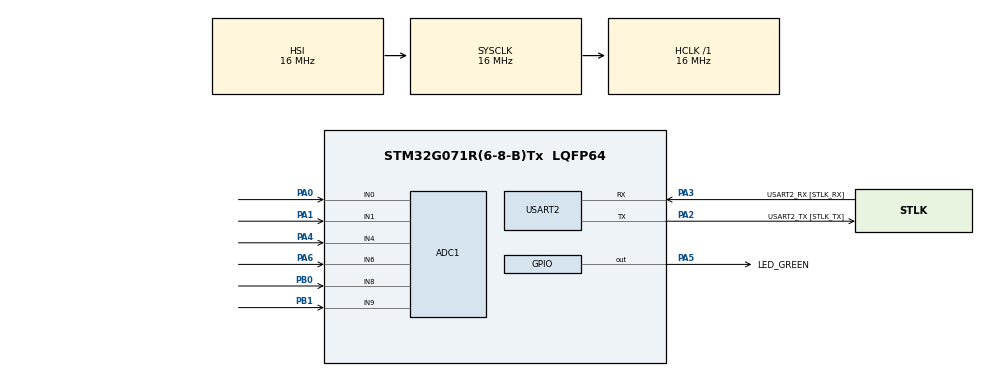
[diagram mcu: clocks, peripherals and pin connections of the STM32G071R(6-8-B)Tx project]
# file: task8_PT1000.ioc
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ADC1.Channel-0\#ChannelRegularConversion=ADC_CHANNEL_0
ADC1.Channel-1\#ChannelRegularConversion=ADC_CHANNEL_1
ADC1.Channel-2\#ChannelRegularConversion=ADC_CHANNEL_4
ADC1.Channel-3\#ChannelRegularConversion=ADC_CHANNEL_8
ADC1.Channel-4\#ChannelRegularConversion=ADC_CHANNEL_9
ADC1.Channel-5\#ChannelRegularConversion=ADC_CHANNEL_6
ADC1.EOCSelection=ADC_EOC_SEQ_CONV
ADC1.NbrOfConversion=6
ADC1.NbrOfConversionFlag=1
ADC1.Rank-0\#ChannelRegularConversion=1
ADC1.Rank-1\#ChannelRegularConversion=2
ADC1.Rank-2\#ChannelRegularConversion=3
ADC1.Rank-3\#ChannelRegularConversion=4
ADC1.Rank-4\#ChannelRegularConversion=5
ADC1.Rank-5\#ChannelRegularConversion=6
ADC1.SamplingTime-0\#ChannelRegularConversion=ADC_SAMPLINGTIME_COMMON_1
ADC1.SamplingTime-1\#ChannelRegularConversion=ADC_SAMPLINGTIME_COMMON_1
ADC1.SamplingTime-2\#ChannelRegularConversion=ADC_SAMPLINGTIME_COMMON_1
ADC1.SamplingTime-3\#ChannelRegularConversion=ADC_SAMPLINGTIME_COMMON_1
ADC1.SamplingTime-4\#ChannelRegularConversion=ADC_SAMPLINGTIME_COMMON_1
ADC1.SamplingTime-5\#ChannelRegularConversion=ADC_SAMPLINGTIME_COMMON_1
ADC1.SamplingTimeCommon1=ADC_SAMPLETIME_160CYCLES_5
ADC1.SamplingTimeCommon2=ADC_SAMPLETIME_160CYCLES_5
ADC1.SelectedChannel=ADC_CHANNEL_0|ADC_CHANNEL_1|ADC_CHANNEL_4|ADC_CHANNEL_6|ADC_CHANNEL_8|ADC_CHANNEL_9
ADC1.master=1
Dma.ADC1.0.Direction=DMA_PERIPH_TO_MEMORY
Dma.ADC1.0.EventEnable=DISABLE
Dma.ADC1.0.Instance=DMA1_Channel1
Dma.ADC1.0.MemDataAlignment=DMA_MDATAALIGN_HALFWORD
Dma.ADC1.0.MemInc=DMA_MINC_ENABLE
Dma.ADC1.0.Mode=DMA_NORMAL
Dma.ADC1.0.PeriphDataAlignment=DMA_PDATAALIGN_HALFWORD
Dma.ADC1.0.PeriphInc=DMA_PINC_DISABLE
Dma.ADC1.0.Polarity=HAL_DMAMUX_REQ_GEN_RISING
Dma.ADC1.0.Priority=DMA_PRIORITY_LOW
Dma.ADC1.0.RequestNumber=1
Dma.ADC1.0.SignalID=NONE
Dma.ADC1.0.SyncEnable=DISABLE
Dma.ADC1.0.SyncPolarity=HAL_DMAMUX_SYNC_NO_EVENT
Dma.ADC1.0.SyncRequestNumber=1
Dma.ADC1.0.SyncSignalID=NONE
Dma.Request0=ADC1
Mcu.Family=STM32G0
Mcu.Name=STM32G071R(6-8-B)Tx
Mcu.Package=LQFP64
NVIC.DMA1_Channel1_IRQn=true\:0\:0\:false\:false\:true\:false\:true\:true
PA0.Mode=IN0
PA0.Signal=ADC1_IN0
PA1.Mode=IN1
PA1.Signal=ADC1_IN1
PA13.GPIO_Label=TMS
PA13.Mode=Serial_Wire
PA13.Signal=SYS_SWDIO
PA14-BOOT0.GPIO_Label=TCK
PA14-BOOT0.Mode=Serial_Wire
PA14-BOOT0.Signal=SYS_SWCLK
PA2.GPIO_Label=USART2_TX [STLK_TX]
PA2.GPIO_PuPd=GPIO_PULLUP
PA2.Mode=Asynchronous
PA2.Signal=USART2_TX
PA3.GPIO_Label=USART2_RX [STLK_RX]
PA3.GPIO_PuPd=GPIO_PULLUP
PA3.Mode=Asynchronous
PA3.Signal=USART2_RX
PA4.Mode=IN4
PA4.Signal=ADC1_IN4
PA5.GPIO_Label=LED_GREEN
PA5.GPIO_Speed=GPIO_SPEED_FREQ_HIGH
PA5.Signal=GPIO_Output
PA6.Mode=IN6
PA6.Signal=ADC1_IN6
PB0.Mode=IN8
PB0.Signal=ADC1_IN8
PB1.Mode=IN9
PB1.Signal=ADC1_IN9
PC13.Mode=SYS_WakeUp1
PC13.Signal=SYS_WKUP2
PC14-OSC32_IN\ (PC14).Mode=LSE-External-Oscillator
PC14-OSC32_IN\ (PC14).Signal=RCC_OSC32_IN
PC15-OSC32_OUT\ (PC15).Mode=LSE-External-Oscillator
PC15-OSC32_OUT\ (PC15).Signal=RCC_OSC32_OUT
PF0-OSC_IN\ (PF0).GPIO_Label=MCO
PF0-OSC_IN\ (PF0).Mode=HSE-External-Clock-Source
PF0-OSC_IN\ (PF0).Signal=RCC_OSC_IN
ProjectManager.HeapSize=0x200
ProjectManager.StackSize=0x400
ProjectManager.TargetToolchain=STM32CubeIDE
RCC.AHBFreq_Value=16000000
RCC.CortexFreq_Value=16000000
RCC.EXTERNAL_CLOCK_VALUE=12288000
RCC.HCLKFreq_Value=16000000
RCC.HSE_VALUE=8000000
RCC.HSI_VALUE=16000000
RCC.SYSCLKFreq_VALUE=16000000
RCC.VCOOutputFreq_Value=128000000
USART2.VirtualMode-Asynchronous=VM_ASYNC
board=NUCLEO-G071RB

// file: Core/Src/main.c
/* USER CODE BEGIN Header */
/**
  ******************************************************************************
  * @file           : main.c
  * @brief          : Main program body
  ******************************************************************************
  * @attention
  *
  * Copyright (c) 2026 STMicroelectronics.
  * All rights reserved.
  *
  * This software is licensed under terms that can be found in the LICENSE file
  * in the root directory of this software component.
  * If no LICENSE file comes with this software, it is provided AS-IS.
  *
  ******************************************************************************
  */
/* USER CODE END Header */
#include "main.h"

/* USER CODE BEGIN Includes */
#include <stdio.h>
#include "temperature_sensor.h"
#include "temperature_logger.h"
/* USER CODE END Includes */

ADC_HandleTypeDef hadc1;
DMA_HandleTypeDef hdma_adc1;

UART_HandleTypeDef huart2;

/* USER CODE BEGIN PV */
static TemperatureSensorData tempData;
static uint32_t lastTempLogTick = 0U;
/* USER CODE END PV */

void SystemClock_Config(void);
static void MX_GPIO_Init(void);
static void MX_DMA_Init(void);
static void MX_ADC1_Init(void);
static void MX_USART2_UART_Init(void);

/* USER CODE BEGIN 0 */
int __io_putchar(int ch)
{
    uint8_t byte = (uint8_t)ch;
    HAL_UART_Transmit(&huart2, &byte, 1, HAL_MAX_DELAY);
    return ch;
}
/* USER CODE END 0 */

int main(void)
{

  /* MCU Configuration--------------------------------------------------------*/

  /* Reset of all peripherals, Initializes the Flash interface and the Systick. */
  HAL_Init();

  /* Configure the system clock */
  SystemClock_Config();

  /* Initialize all configured peripherals */
  MX_GPIO_Init();
  MX_DMA_Init();
  MX_ADC1_Init();
  MX_USART2_UART_Init();

  /* USER CODE BEGIN 2 */
  if (HAL_ADCEx_Calibration_Start(&hadc1) != HAL_OK)
  {
        Error_Handler();
  }
  printf("\r\nPT1000 TEMPERATURE OUTPUT 1.0\r\n");

  TemperatureSensor_Init(&hadc1);
  /*TemperatureLogger_PrintHeader();*/
  /* USER CODE END 2 */

  /* Infinite loop */
  while (1)
  {

	  /* USER CODE BEGIN 3 */
	  uint32_t now = HAL_GetTick();

	  if ((now - lastTempLogTick) >= 1000U)
	  {
	      lastTempLogTick = now;

	      if (TemperatureSensor_Read(&tempData))
	      {
	          TemperatureLogger_PrintMotorTemperatures(&tempData);
	      }
	      else
	      {
	          printf("Temperature sensor read error\r\n\r\n");
	      }

	  }

	  /* USER CODE END 3 */
  }
}

void SystemClock_Config(void)
{
  RCC_OscInitTypeDef RCC_OscInitStruct = {0};
  RCC_ClkInitTypeDef RCC_ClkInitStruct = {0};

  /** Configure the main internal regulator output voltage
  */
  HAL_PWREx_ControlVoltageScaling(PWR_REGULATOR_VOLTAGE_SCALE1);

  /** Initializes the RCC Oscillators according to the specified parameters
  * in the RCC_OscInitTypeDef structure.
  */
  RCC_OscInitStruct.OscillatorType = RCC_OSCILLATORTYPE_HSI;
  RCC_OscInitStruct.HSIState = RCC_HSI_ON;
  RCC_OscInitStruct.HSIDiv = RCC_HSI_DIV1;
  RCC_OscInitStruct.HSICalibrationValue = RCC_HSICALIBRATION_DEFAULT;
  RCC_OscInitStruct.PLL.PLLState = RCC_PLL_NONE;
  if (HAL_RCC_OscConfig(&RCC_OscInitStruct) != HAL_OK)
  {
    Error_Handler();
  }

  /** Initializes the CPU, AHB and APB buses clocks
  */
  RCC_ClkInitStruct.ClockType = RCC_CLOCKTYPE_HCLK|RCC_CLOCKTYPE_SYSCLK
                              |RCC_CLOCKTYPE_PCLK1;
  RCC_ClkInitStruct.SYSCLKSource = RCC_SYSCLKSOURCE_HSI;
  RCC_ClkInitStruct.AHBCLKDivider = RCC_SYSCLK_DIV1;
  RCC_ClkInitStruct.APB1CLKDivider = RCC_HCLK_DIV1;

  if (HAL_RCC_ClockConfig(&RCC_ClkInitStruct, FLASH_LATENCY_0) != HAL_OK)
  {
    Error_Handler();
  }
}

static void MX_ADC1_Init(void)
{

  ADC_ChannelConfTypeDef sConfig = {0};

  /** Configure the global features of the ADC (Clock, Resolution, Data Alignment and number of conversion)
  */
  hadc1.Instance = ADC1;
  hadc1.Init.ClockPrescaler = ADC_CLOCK_SYNC_PCLK_DIV2;
  hadc1.Init.Resolution = ADC_RESOLUTION_12B;
  hadc1.Init.DataAlign = ADC_DATAALIGN_RIGHT;
  hadc1.Init.ScanConvMode = ADC_SCAN_ENABLE;
  hadc1.Init.EOCSelection = ADC_EOC_SEQ_CONV;
  hadc1.Init.LowPowerAutoWait = DISABLE;
  hadc1.Init.LowPowerAutoPowerOff = DISABLE;
  hadc1.Init.ContinuousConvMode = DISABLE;
  hadc1.Init.NbrOfConversion = 6;
  hadc1.Init.DiscontinuousConvMode = DISABLE;
  hadc1.Init.ExternalTrigConv = ADC_SOFTWARE_START;
  hadc1.Init.ExternalTrigConvEdge = ADC_EXTERNALTRIGCONVEDGE_NONE;
  hadc1.Init.DMAContinuousRequests = DISABLE;
  hadc1.Init.Overrun = ADC_OVR_DATA_PRESERVED;
  hadc1.Init.SamplingTimeCommon1 = ADC_SAMPLETIME_160CYCLES_5;
  hadc1.Init.SamplingTimeCommon2 = ADC_SAMPLETIME_160CYCLES_5;
  hadc1.Init.OversamplingMode = DISABLE;
  hadc1.Init.TriggerFrequencyMode = ADC_TRIGGER_FREQ_HIGH;
  if (HAL_ADC_Init(&hadc1) != HAL_OK)
  {
    Error_Handler();
  }

  /** Configure Regular Channel
  */
  sConfig.Channel = ADC_CHANNEL_0;
  sConfig.Rank = ADC_REGULAR_RANK_1;
  sConfig.SamplingTime = ADC_SAMPLINGTIME_COMMON_1;
  if (HAL_ADC_ConfigChannel(&hadc1, &sConfig) != HAL_OK)
  {
    Error_Handler();
  }

  /** Configure Regular Channel
  */
  sConfig.Channel = ADC_CHANNEL_1;
  sConfig.Rank = ADC_REGULAR_RANK_2;
  if (HAL_ADC_ConfigChannel(&hadc1, &sConfig) != HAL_OK)
  {
    Error_Handler();
  }

  /** Configure Regular Channel
  */
  sConfig.Channel = ADC_CHANNEL_4;
  sConfig.Rank = ADC_REGULAR_RANK_3;
  if (HAL_ADC_ConfigChannel(&hadc1, &sConfig) != HAL_OK)
  {
    Error_Handler();
  }

  /** Configure Regular Channel
  */
  sConfig.Channel = ADC_CHANNEL_8;
  sConfig.Rank = ADC_REGULAR_RANK_4;
  if (HAL_ADC_ConfigChannel(&hadc1, &sConfig) != HAL_OK)
  {
    Error_Handler();
  }

  /** Configure Regular Channel
  */
  sConfig.Channel = ADC_CHANNEL_9;
  sConfig.Rank = ADC_REGULAR_RANK_5;
  if (HAL_ADC_ConfigChannel(&hadc1, &sConfig) != HAL_OK)
  {
    Error_Handler();
  }

  /** Configure Regular Channel
  */
  sConfig.Channel = ADC_CHANNEL_6;
  sConfig.Rank = ADC_REGULAR_RANK_6;
  if (HAL_ADC_ConfigChannel(&hadc1, &sConfig) != HAL_OK)
  {
    Error_Handler();
  }

}

static void MX_USART2_UART_Init(void)
{

  huart2.Instance = USART2;
  huart2.Init.BaudRate = 115200;
  huart2.Init.WordLength = UART_WORDLENGTH_8B;
  huart2.Init.StopBits = UART_STOPBITS_1;
  huart2.Init.Parity = UART_PARITY_NONE;
  huart2.Init.Mode = UART_MODE_TX_RX;
  huart2.Init.HwFlowCtl = UART_HWCONTROL_NONE;
  huart2.Init.OverSampling = UART_OVERSAMPLING_16;
  huart2.Init.OneBitSampling = UART_ONE_BIT_SAMPLE_DISABLE;
  huart2.Init.ClockPrescaler = UART_PRESCALER_DIV1;
  huart2.AdvancedInit.AdvFeatureInit = UART_ADVFEATURE_NO_INIT;
  if (HAL_UART_Init(&huart2) != HAL_OK)
  {
    Error_Handler();
  }
  if (HAL_UARTEx_SetTxFifoThreshold(&huart2, UART_TXFIFO_THRESHOLD_1_8) != HAL_OK)
  {
    Error_Handler();
  }
  if (HAL_UARTEx_SetRxFifoThreshold(&huart2, UART_RXFIFO_THRESHOLD_1_8) != HAL_OK)
  {
    Error_Handler();
  }
  if (HAL_UARTEx_DisableFifoMode(&huart2) != HAL_OK)
  {
    Error_Handler();
  }

}

static void MX_DMA_Init(void)
{

  /* DMA controller clock enable */
  __HAL_RCC_DMA1_CLK_ENABLE();

  /* DMA interrupt init */
  /* DMA1_Channel1_IRQn interrupt configuration */
  HAL_NVIC_SetPriority(DMA1_Channel1_IRQn, 0, 0);
  HAL_NVIC_EnableIRQ(DMA1_Channel1_IRQn);

}

static void MX_GPIO_Init(void)
{
  GPIO_InitTypeDef GPIO_InitStruct = {0};

  /* GPIO Ports Clock Enable */
  __HAL_RCC_GPIOC_CLK_ENABLE();
  __HAL_RCC_GPIOF_CLK_ENABLE();
  __HAL_RCC_GPIOA_CLK_ENABLE();
  __HAL_RCC_GPIOB_CLK_ENABLE();

  /*Configure GPIO pin Output Level */
  HAL_GPIO_WritePin(LED_GREEN_GPIO_Port, LED_GREEN_Pin, GPIO_PIN_RESET);

  /*Configure GPIO pin : LED_GREEN_Pin */
  GPIO_InitStruct.Pin = LED_GREEN_Pin;
  GPIO_InitStruct.Mode = GPIO_MODE_OUTPUT_PP;
  GPIO_InitStruct.Pull = GPIO_NOPULL;
  GPIO_InitStruct.Speed = GPIO_SPEED_FREQ_HIGH;
  HAL_GPIO_Init(LED_GREEN_GPIO_Port, &GPIO_InitStruct);

}

void Error_Handler(void)
{
  __disable_irq();
  while (1)
  {
  }
}
